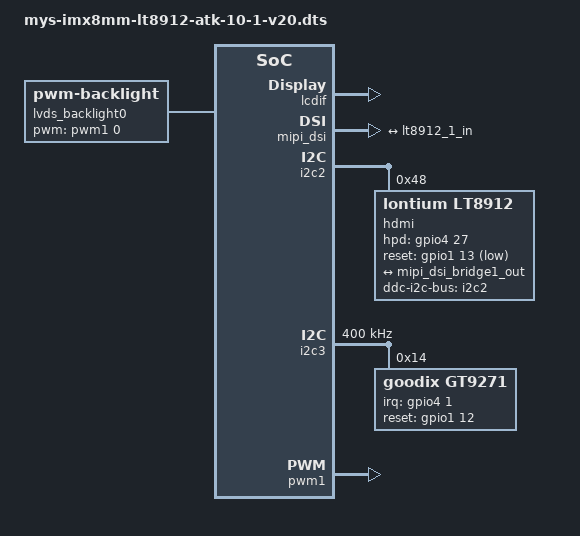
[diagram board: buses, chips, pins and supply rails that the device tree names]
/*
 * Copyright 2019 MYiR Devices
 */
 
#include "mys-imx8mm-evk-v20.dts"
/{
	lvds_backlight0: lvds_backlight@0 {
		compatible = "pwm-backlight";
		pwms = <&pwm1 0 5000000 0>;

		brightness-levels = < 0  1  2  3  4  5  6  7  8  9
				     10 11 12 13 14 15 16 17 18 19
				     20 21 22 23 24 25 26 27 28 29
				     30 31 32 33 34 35 36 37 38 39
				     40 41 42 43 44 45 46 47 48 49
				     50 51 52 53 54 55 56 57 58 59
				     60 61 62 63 64 65 66 67 68 69
				     70 71 72 73 74 75 76 77 78 79
				     80 81 82 83 84 85 86 87 88 89
				     90 91 92 93 94 95 96 97 98 99
				    100>;
		default-brightness-level = <80>;
	};
};
&iomuxc {
			
    pinctrl_dsi_lvds_bridge: lvds_bridge_gpio {
			fsl,pins = <
				MX8MM_IOMUXC_SAI2_MCLK_GPIO4_IO27          0x00000116
				MX8MM_IOMUXC_GPIO1_IO13_GPIO1_IO13           0x00000116
			>;
    };
		atk_pins:pinctrl_atk {
			fsl,pins = <
				MX8MM_IOMUXC_GPIO1_IO12_GPIO1_IO12        0x19
				MX8MM_IOMUXC_SAI1_RXC_GPIO4_IO1           0x19
			>;
		};

		pinctrl_pwm1: lvds0pwm1grp {
			fsl,pins = <
				MX8MM_IOMUXC_GPIO1_IO01_PWM1_OUT 0x19
			>;
		};
};

&lcdif{
	max-res = <1280>, <800>;
	status = "okay";
};

&mipi_dsi {
	status = "okay";

	port@1 {
		compatible = "lontium,lt8912";
		mipi_dsi_bridge1_out: endpoint {
			remote-endpoint = <&lt8912_1_in>;
			attach-bridge;
		};
	};
};

&i2c2 {
    pinctrl-names = "default";
    status = "okay";


   

	/* MIPI-DSI to HDMI and LVDS adapter */
	hdmi@48 {
		compatible = "lontium,lt8912";
		reg = <0x48>;
		pinctrl-names = "default";
		pinctrl-0 = <&pinctrl_dsi_lvds_bridge>;
		ddc-i2c-bus = <&i2c2>;
		hpd-gpios = <&gpio4 27 GPIO_ACTIVE_HIGH>;
		reset-gpios = <&gpio1 13 GPIO_ACTIVE_LOW>;
    status = "okay";
    
    dsi-lanes = <4>;
    hdmi_mode = <0>;
    lvds-enabled = <1>;
    debug =<1>;
    bypass=<0>;
    
    display-timings {
	    
			native-mode = <&timing0>;

			/* LVDS atk 10.1*/
			timing0:timing0{
				clock-frequency = <71000000>;
				hactive = <1280>;
				hsync-len = <32>;
				hback-porch = <80>;
				hfront-porch = <48>;
				vactive = <800>;
				vsync-len = <6>;
				vback-porch = <14>;
				vfront-porch = <3>;
				vsync-active = <0>;
				hsync-active =<0>;
				de-active =<0>;
				pixelclk-active =<0>;
			};

	 };	    

		port {
			lt8912_1_in: endpoint {
				remote-endpoint = <&mipi_dsi_bridge1_out>;
			};
		};
	};


};


&i2c3 {
    clock-frequency = <400000>;
    status = "okay";
    
	/* 10.1-inch , touch    */ 
		gt9271@14 {
				compatible = "goodix,gt9271";
				reg = <0x14>;
				pinctrl-names = "default";
				pinctrl-0 = <&atk_pins>;
				
				interrupt-parent = <&gpio4>;
				interrupts = <1 IRQ_TYPE_EDGE_FALLING>;
				
			
				esd-recovery-timeout-ms = <2000>;
				irq-gpios = <&gpio4 1 GPIO_ACTIVE_HIGH>;
				reset-gpios = <&gpio1 12 GPIO_ACTIVE_HIGH>;
				status = "okay";
			};
				
}; 
&pwm1 {
	pinctrl-names = "default";
	pinctrl-0 = <&pinctrl_pwm1>;
	status = "okay";
};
